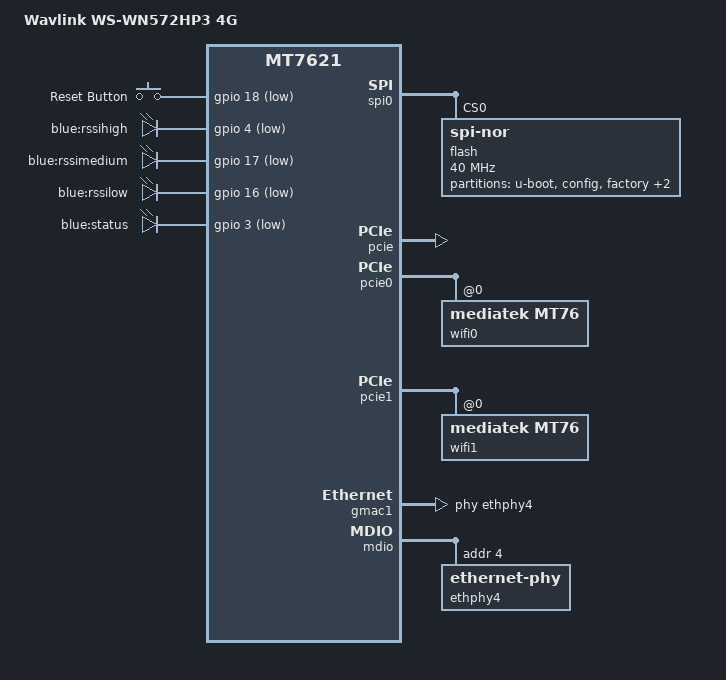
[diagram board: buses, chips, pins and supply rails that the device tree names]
// SPDX-License-Identifier: GPL-2.0-or-later OR MIT

#include "mt7621.dtsi"

#include <dt-bindings/gpio/gpio.h>
#include <dt-bindings/input/input.h>

/ {
	compatible = "wavlink,ws-wn572hp3-4g", "mediatek,mt7621-soc";
	model = "Wavlink WS-WN572HP3 4G";

	chosen {
		bootargs = "console=ttyS0,115200";
	};

	aliases {
		label-mac-device = &wifi1;
		led-boot = &led_status_blue;
		led-failsafe = &led_status_blue;
		led-running = &led_status_blue;
		led-upgrade = &led_status_blue;
	};

	keys {
		compatible = "gpio-keys";

		reset {
			label = "Reset Button";
			gpios = <&gpio 18 GPIO_ACTIVE_LOW>;
			linux,code = <KEY_RESTART>;
		};
	};

	leds {
		compatible = "gpio-leds";

		rssihigh {
			label = "blue:rssihigh";
			gpios = <&gpio 4 GPIO_ACTIVE_LOW>;
		};

		rssimedium {
			label = "blue:rssimedium";
			gpios = <&gpio 17 GPIO_ACTIVE_LOW>;
		};

		rssilow {
			label = "blue:rssilow";
			gpios = <&gpio 16 GPIO_ACTIVE_LOW>;
		};

		led_status_blue: status_blue {
			label = "blue:status";
			gpios = <&gpio 3 GPIO_ACTIVE_LOW>;
		};

		// gpio 15 would be Quectels PWRKEY if used
	};
};

&spi0 {
	status = "okay";

	flash@0 {
		compatible = "jedec,spi-nor";
		reg = <0>;
		spi-max-frequency = <40000000>;

		partitions {
			compatible = "fixed-partitions";
			#address-cells = <1>;
			#size-cells = <1>;

			partition@0 {
				label = "u-boot";
				reg = <0x0 0x30000>;
				read-only;
			};

			partition@30000 {
				label = "config";
				reg = <0x30000 0x10000>;
				read-only;
			};

			factory: partition@40000 {
				label = "factory";
				reg = <0x40000 0x10000>;
				read-only;
			};

			partition@50000 {
				compatible = "denx,fit";
				label = "firmware";
				reg = <0x50000 0xf30000>;
			};

			partition@f00000 {
				label = "vendor";
				reg = <0xf80000 0x80000>;
				read-only;
			};
		};
	};
};

&pcie {
	status = "okay";
};

&pcie0 {
	wifi0: mt76@0,0 {
		compatible = "mediatek,mt76";
		reg = <0x0000 0 0 0 0>;
		mediatek,mtd-eeprom = <&factory 0x0>;
	};
};

&pcie1 {
	wifi1: mt76@0,0 {
		compatible = "mediatek,mt76";
		reg = <0x0000 0 0 0 0>;
		mediatek,mtd-eeprom = <&factory 0x8000>;
	};
};

&gmac0 {
	nvmem-cells = <&macaddr_factory_e000>;
	nvmem-cell-names = "mac-address";
};

&gmac1 {
	status = "okay";
	label = "wan";
	phy-handle = <&ethphy4>;

	nvmem-cells = <&macaddr_factory_e006>;
	nvmem-cell-names = "mac-address";
};

&mdio {
	ethphy4: ethernet-phy@4 {
		reg = <4>;
	};
};

&switch0 {
	ports {
		port@1 {
			status = "okay";
			label = "lan";
		};
	};
};

&state_default {
	gpio {
		groups = "wdt";
		function = "gpio";
	};
};

&factory {
	compatible = "nvmem-cells";
	#address-cells = <1>;
	#size-cells = <1>;

	macaddr_factory_e000: macaddr@e000 {
		reg = <0xe000 0x6>;
	};

	macaddr_factory_e006: macaddr@e006 {
		reg = <0xe006 0x6>;
	};
};

&wifi0{
	ieee80211-freq-limit = <2400000 2500000>;
};

&wifi1{
	ieee80211-freq-limit = <5000000 6000000>;
};

